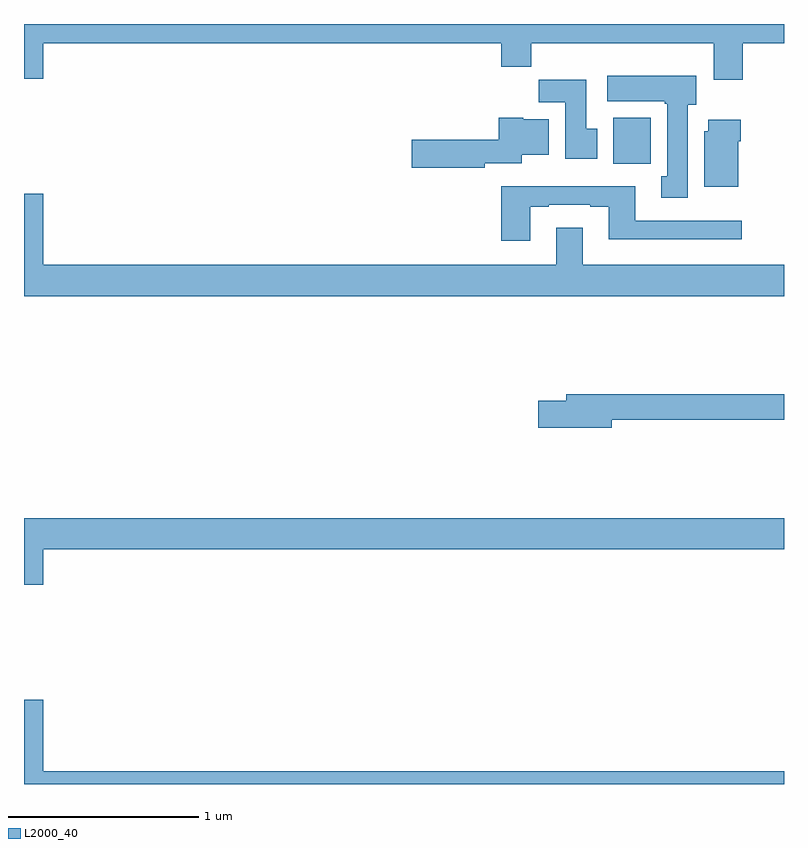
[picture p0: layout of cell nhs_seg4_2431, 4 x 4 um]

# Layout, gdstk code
import gdstk
lib = gdstk.Library(unit=1e-6, precision=1e-09)
def R(c, l, rs):  # rectangles x0, y0, x1, y1
    for r in rs: c.add(gdstk.rectangle(r[:2], r[2:], *l))
def P(c, l, *ps):  # polygons
    for p in ps: c.add(gdstk.Polygon(p, *l))
L2000_40 = (2000, 40)

nhs_seg4_2431 = lib.new_cell('nhs_seg4_2431')
R(nhs_seg4_2431, L2000_40, [(240.101,816.164,240.298,816.406)])
P(nhs_seg4_2431, L2000_40, [(240.782,816.8),(241,816.8),(241,816.9),(237,816.9),(237,816.612),(237.1,816.612),(237.1,816.8),(239.513,816.8),(239.513,816.676),(239.669,816.676),(239.669,816.8),(240.629,816.8),(240.629,816.606),(240.782,816.606)],
  [(240.493,816.474),(240.538,816.474),(240.538,816.628),(240.069,816.628),(240.069,816.494),(240.373,816.494),(240.373,816.481),(240.386,816.481),(240.386,816.098),(240.353,816.098),(240.353,815.985),(240.493,815.985)],
  [(240.016,816.348),(239.959,816.348),(239.959,816.607),(239.71,816.607),(239.71,816.488),(239.849,816.488),(239.849,816.192),(240.016,816.192)],
  [(239.424,816.167),(239.62,816.167),(239.62,816.212),(239.761,816.212),(239.761,816.4),(239.628,816.4),(239.628,816.406),(239.498,816.406),(239.498,816.29),(239.04,816.29),(239.04,816.143),(239.424,816.143)],
  [(240.76,816.284),(240.773,816.284),(240.773,816.397),(240.602,816.397),(240.602,816.336),(240.581,816.336),(240.581,816.044),(240.76,816.044)],
  [(239.665,815.937),(239.761,815.937),(239.761,815.949),(239.981,815.949),(239.981,815.937),(240.077,815.937),(240.077,815.768),(240.778,815.768),(240.778,815.865),(240.217,815.865),(240.217,816.046),(239.513,816.046),(239.513,815.76),(239.665,815.76)],
  [(241,815.632),(239.941,815.632),(239.941,815.827),(239.801,815.827),(239.801,815.632),(237.1,815.632),(237.1,816.007),(237,816.007),(237,815.468),(241,815.468)],
  [(240.094,814.816),(241,814.816),(241,814.952),(239.855,814.952),(239.855,814.916),(239.706,814.916),(239.706,814.774),(240.094,814.774)],
  [(237.1,814.136),(241,814.136),(241,814.3),(237,814.3),(237,813.948),(237.1,813.948)],
  [(241,812.968),(237.1,812.968),(237.1,813.343),(237,813.343),(237,812.9),(241,812.9)])

lib.write_gds('nhs_seg4_2431.gds')
